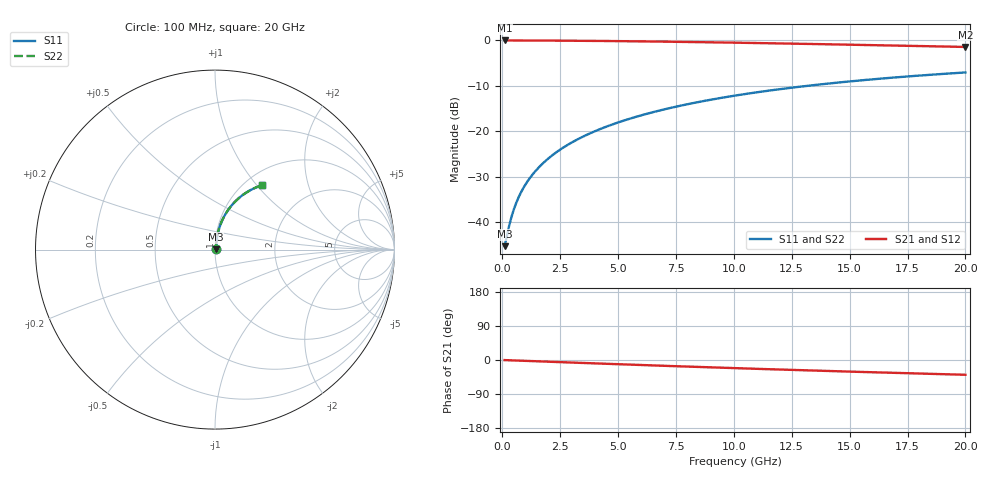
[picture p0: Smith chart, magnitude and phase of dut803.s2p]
! Touchstone file exported from HFSS 2024.1.0
!  File:  C:/UserFiles/LocalFiles/RDL_TSV_Batchsim/temp_RDL_top_803_1779853872.aedt
!  Generated:  11:53:28 AM May 27, 2026
!  Design:  RDL_top
!  Project:  temp_RDL_top_803_1779853872
!  Setup:  Setup1
!  Solution:  Sweep
! Variables:
!  dtsv = 10.80580581um
!  hbump = 3um
!  htsv = 61.24um
!  ldown = 100um
!  lrdl = 490.14um
!  p = 40
!  p1 = 47.83um
!  rhole = 1um
!  t = 450um
!  tdown = 3.915915916um
!  trdl = 2.82um
!  wdown = 15.38538539um
!  wrdl = 13.08um
# GHz S MA R 50.000000
! Terminal data exported
! Port[1] = Box2_T1
! Port[2] = Box2_T2
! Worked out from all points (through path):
!   200 points, 100 MHz to 20 GHz, reference 50 ohm
!   highest |S21| = -0.04 dB at 100 MHz (marker M1); lowest = -1.5 dB at 20 GHz (marker M2)
!   group delay of S21, straight-line fit = 5.41 ps
!   lowest |S11| = -45.2 dB at 100 MHz (marker M3), VSWR 1.01, Z = 50.5 + j0.264 ohm
!   |S11| at or under -10 dB: start of sweep to 13.19 GHz
!   |S22| runs from -45.2 to -7.1 dB; largest |S21 - S12| = 4.3e-15
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0.1  0.005484 28.5  0.9952 -0.2  0.9952 -0.2  0.005484 28.5
! Gamma 0 0 0 0
! Port Impedance 50 0 50 0
0.3  0.009271 57.3  0.995 -0.7  0.995 -0.7  0.009271 57.3
0.4  0.01157 63.6  0.9949 -0.9  0.9949 -0.9  0.01157 63.6
0.5  0.01394 67.7  0.9947 -1.2  0.9947 -1.2  0.01394 67.7
0.6  0.01634 70.5  0.9946 -1.4  0.9946 -1.4  0.01634 70.5
0.7  0.01876 72.5  0.9944 -1.6  0.9944 -1.6  0.01876 72.5
0.9  0.02362 75.3  0.9941 -2.1  0.9941 -2.1  0.02362 75.3
1.2  0.03095 77.7  0.9935 -2.7  0.9935 -2.7  0.03095 77.7
1.4  0.03585 78.7  0.9931 -3.2  0.9931 -3.2  0.03585 78.6
1.7  0.04323 79.6  0.9924 -3.9  0.9924 -3.9  0.04323 79.6
2.2  0.05559 80.4  0.9911 -5.0  0.9911 -5.0  0.05558 80.4
2.8  0.07047 80.6  0.9892 -6.3  0.9892 -6.3  0.07046 80.5
3.5  0.08787 80.2  0.9864 -7.9  0.9864 -7.9  0.08787 80.2
4.2  0.1053 79.6  0.9831 -9.4  0.9831 -9.4  0.1053 79.6
5  0.1252 78.7  0.9788 -11.1  0.9788 -11.1  0.1251 78.7
5.9  0.1474 77.4  0.9733 -13.0  0.9733 -13.0  0.1474 77.4
6.8  0.1695 76.1  0.9671 -14.9  0.9671 -14.9  0.1695 76.1
8.3  0.2058 73.6  0.9557 -18.0  0.9557 -18.0  0.2057 73.6
10.1  0.248 70.5  0.9406 -21.6  0.9406 -21.6  0.248 70.5
13.4  0.3207 64.8  0.91 -27.8  0.91 -27.8  0.3206 64.8
16.7  0.3859 59.2  0.8775 -33.6  0.8775 -33.6  0.3858 59.2
20  0.4432 53.9  0.8445 -39.0  0.8445 -39.0  0.4431 53.9
